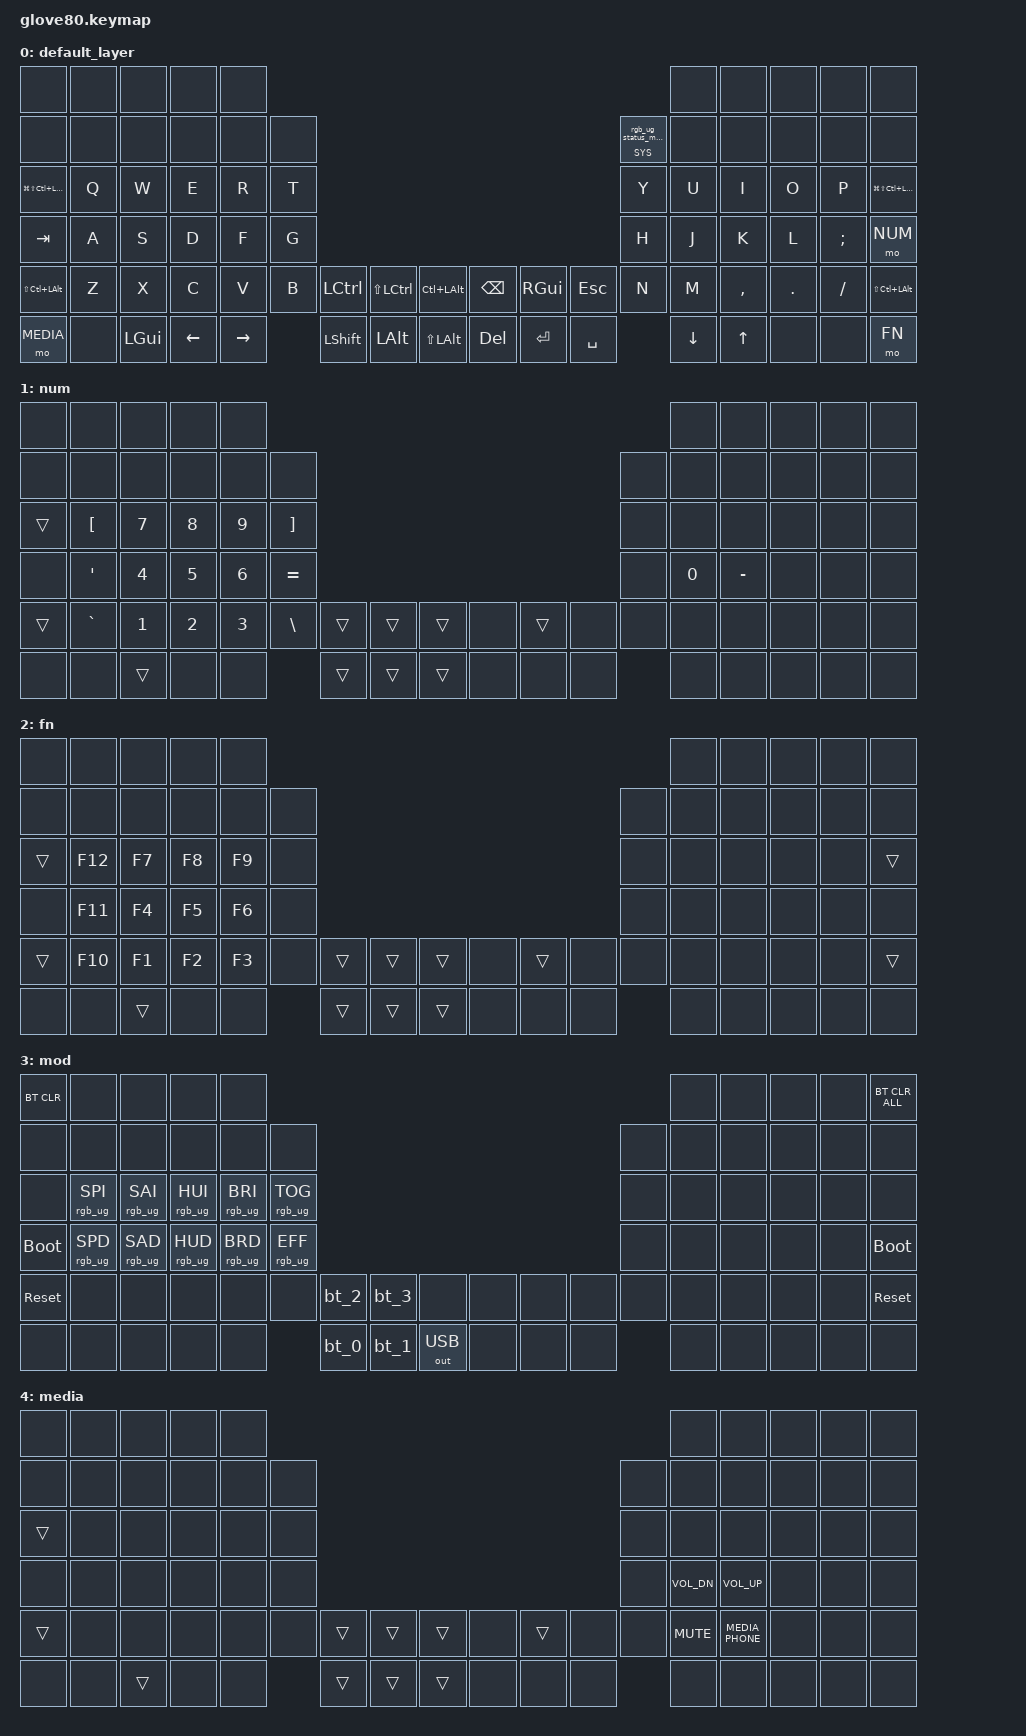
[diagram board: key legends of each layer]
/*
 * Copyright (c) 2020 The ZMK Contributors
 *
 * SPDX-License-Identifier: MIT
 */

#include <behaviors.dtsi>
#include <dt-bindings/zmk/keys.h>
#include <dt-bindings/zmk/bt.h>
#include <dt-bindings/zmk/ext_power.h>
#include <dt-bindings/zmk/outputs.h>
#include <dt-bindings/zmk/rgb.h>

#define XXX &none
#define ___ &trans

// layers
#define DEF 0
#define NUM 1
#define FN  2
#define SYS 3
#define MEDIA 4
/* S-C-M */
#define MEH_MOD &kp LS(LC(LALT))
/* S-C-M-s */
#define HYPER_MOD &kp LG(LS(LC(LALT)))

/ {
    behaviors {
        sys: magic_hold_tap {
            compatible = "zmk,behavior-hold-tap";
            label = "SYS";
            #binding-cells = <2>;
            flavor = "tap-preferred";
            tapping-term-ms = <200>;
            bindings = <&mo>, <&rgb_ug_status_macro>;
        };
    };

    macros {
        rgb_ug_status_macro: rgb_ug_status_macro_0 {
            label = "RGB_UG_STATUS";
            compatible = "zmk,behavior-macro";
            #binding-cells = <0>;
            bindings
                = <&rgb_ug RGB_STATUS>;
        };

        bt_0: bt_profile_macro_0 {
            label = "BT_0";
            compatible = "zmk,behavior-macro";
            #binding-cells = <0>;
            bindings
                = <&out OUT_BLE>,
                  <&bt BT_SEL 0>;
        };

        bt_1: bt_profile_macro_1 {
            label = "BT_1";
            compatible = "zmk,behavior-macro";
            #binding-cells = <0>;
            bindings
                = <&out OUT_BLE>,
                  <&bt BT_SEL 1>;
        };

        bt_2: bt_profile_macro_2 {
            label = "BT_2";
            compatible = "zmk,behavior-macro";
            #binding-cells = <0>;
            bindings
                = <&out OUT_BLE>,
                  <&bt BT_SEL 2>;
        };

        bt_3: bt_profile_macro_3 {
            label = "BT_3";
            compatible = "zmk,behavior-macro";
            #binding-cells = <0>;
            bindings
                = <&out OUT_BLE>,
                  <&bt BT_SEL 3>;
        };
    };

    keymap {
        compatible = "zmk,keymap";

        default_layer {

            bindings = <
              XXX         XXX     XXX        XXX        XXX                                                                                                           XXX        XXX         XXX       XXX         XXX
              XXX         XXX     XXX        XXX        XXX         XXX                                                                                  &sys SYS 0   XXX        XXX         XXX       XXX         XXX
              HYPER_MOD   &kp Q   &kp W      &kp E      &kp R       &kp T                                                                                &kp Y        &kp U      &kp I       &kp O     &kp P       HYPER_MOD
              &kp TAB     &kp A   &kp S      &kp D      &kp F       &kp G                                                                                &kp H        &kp J      &kp K       &kp L     &kp SEMI    &mo NUM
              MEH_MOD     &kp Z   &kp X      &kp C      &kp V       &kp B   &kp LCTRL   &kp LS(LCTRL)   &kp LC(LALT)   &kp BSPC   &kp RGUI   &kp ESC     &kp N        &kp M      &kp COMMA   &kp DOT   &kp SLASH   MEH_MOD
              &mo MEDIA   XXX     &kp LGUI   &kp LEFT   &kp RIGHT           &kp LSHFT   &kp LALT        &kp LS(LALT)   &kp DEL    &kp RET    &kp SPACE                &kp DOWN   &kp UP      XXX       XXX         &mo FN
            >;
        };
        num {
            bindings = <
              XXX   XXX         XXX      XXX      XXX                                                               XXX      XXX         XXX   XXX   XXX
              XXX   XXX         XXX      XXX      XXX      XXX                                                XXX   XXX      XXX         XXX   XXX   XXX
              ___   &kp LBKT    &kp N7   &kp N8   &kp N9   &kp RBKT                                           XXX   XXX      XXX         XXX   XXX   XXX
              XXX   &kp SQT     &kp N4   &kp N5   &kp N6   &kp EQUAL                                          XXX   &kp N0   &kp MINUS   XXX   XXX   XXX
              ___   &kp GRAVE   &kp N1   &kp N2   &kp N3   &kp BSLH    ___    ___    ___    XXX   ___   XXX   XXX   XXX      XXX         XXX   XXX   XXX
              XXX   XXX         ___      XXX      XXX                  ___    ___    ___    XXX   XXX   XXX         XXX      XXX         XXX   XXX   XXX
            >;
        };
        fn {
            bindings = <
              XXX   XXX       XXX      XXX      XXX                                                         XXX   XXX   XXX   XXX   XXX
              XXX   XXX       XXX      XXX      XXX      XXX                                          XXX   XXX   XXX   XXX   XXX   XXX
              ___   &kp F12   &kp F7   &kp F8   &kp F9   XXX                                          XXX   XXX   XXX   XXX   XXX   ___
              XXX   &kp F11   &kp F4   &kp F5   &kp F6   XXX                                          XXX   XXX   XXX   XXX   XXX   XXX
              ___   &kp F10   &kp F1   &kp F2   &kp F3   XXX   ___    ___    ___    XXX   ___   XXX   XXX   XXX   XXX   XXX   XXX   ___
              XXX   XXX       ___      XXX      XXX            ___    ___    ___    XXX   XXX   XXX         XXX   XXX   XXX   XXX   XXX
            >;
        };
        mod {
            bindings = <
            &bt BT_CLR    XXX               XXX               XXX                 XXX                                                                                         XXX   XXX   XXX   XXX   &bt BT_CLR_ALL
            XXX           XXX               XXX               XXX                 XXX               XXX                                                                 XXX   XXX   XXX   XXX   XXX   XXX  
            XXX           &rgb_ug RGB_SPI   &rgb_ug RGB_SAI   &rgb_ug RGB_HUI     &rgb_ug RGB_BRI   &rgb_ug RGB_TOG                                                     XXX   XXX   XXX   XXX   XXX   XXX  
            &bootloader   &rgb_ug RGB_SPD   &rgb_ug RGB_SAD   &rgb_ug RGB_HUD     &rgb_ug RGB_BRD   &rgb_ug RGB_EFF                                                     XXX   XXX   XXX   XXX   XXX   &bootloader
            &sys_reset    XXX               XXX               XXX                 XXX               XXX               &bt_2   &bt_3   XXX            XXX   XXX   XXX    XXX   XXX   XXX   XXX   XXX   &sys_reset
            XXX           XXX               XXX               XXX                 XXX                                 &bt_0   &bt_1   &out OUT_USB   XXX   XXX   XXX          XXX   XXX   XXX   XXX   XXX
            >;
        };
        media {
            bindings = <
              XXX   XXX   XXX   XXX   XXX                                                   XXX            XXX                 XXX   XXX   XXX  
              XXX   XXX   XXX   XXX   XXX   XXX                                       XXX   XXX            XXX                 XXX   XXX   XXX  
              ___   XXX   XXX   XXX   XXX   XXX                                       XXX   XXX            XXX                 XXX   XXX   XXX  
              XXX   XXX   XXX   XXX   XXX   XXX                                       XXX   &kp C_VOL_DN   &kp C_VOL_UP        XXX   XXX   XXX  
              ___   XXX   XXX   XXX   XXX   XXX   ___   ___   ___   XXX   ___   XXX   XXX   &kp C_MUTE     &kp C_MEDIA_PHONE   XXX   XXX   XXX  
              XXX   XXX   ___   XXX   XXX         ___   ___   ___   XXX   XXX   XXX         XXX            XXX                 XXX   XXX   XXX  
            >;
        };
    };
};

/* vim: set ft=c tw=174 nowrap: */
